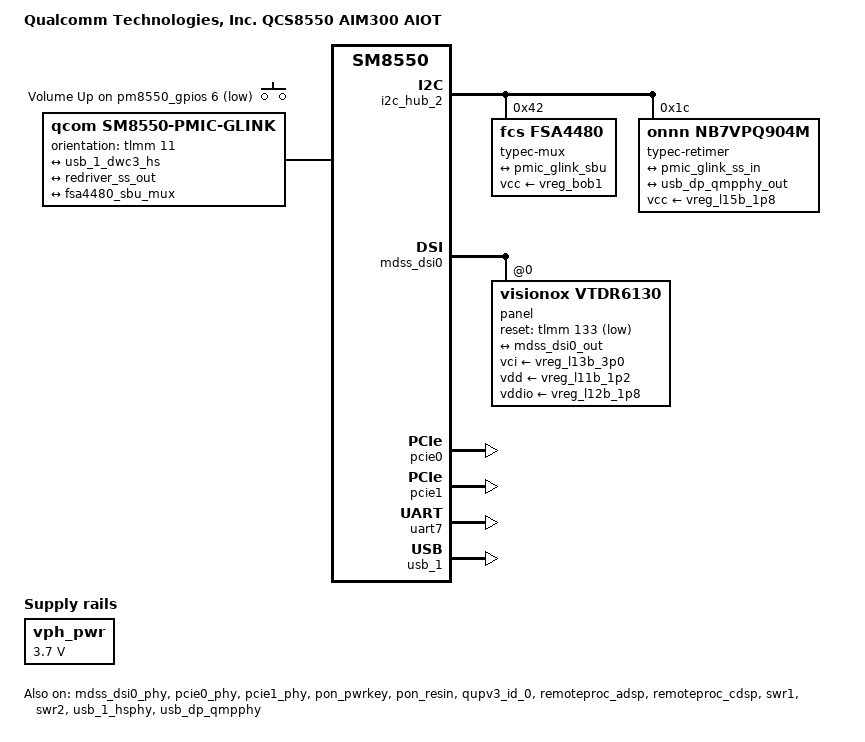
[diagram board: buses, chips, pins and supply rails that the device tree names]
// SPDX-License-Identifier: BSD-3-Clause
/*
 * Copyright (c) 2023-2024, Qualcomm Innovation Center, Inc. All rights reserved.
 */

/dts-v1/;

#include <dt-bindings/leds/common.h>
#include "qcs8550-aim300.dtsi"
#include "pm8010.dtsi"
#include "pmr735d_a.dtsi"
#include "pmr735d_b.dtsi"

/ {
	model = "Qualcomm Technologies, Inc. QCS8550 AIM300 AIOT";
	compatible = "qcom,qcs8550-aim300-aiot", "qcom,qcs8550-aim300", "qcom,qcs8550",
		     "qcom,sm8550";

	aliases {
		serial0 = &uart7;
	};

	chosen {
		stdout-path = "serial0:115200n8";
	};

	gpio-keys {
		compatible = "gpio-keys";

		pinctrl-0 = <&volume_up_n>;
		pinctrl-names = "default";

		key-volume-up {
			label = "Volume Up";
			debounce-interval = <15>;
			gpios = <&pm8550_gpios 6 GPIO_ACTIVE_LOW>;
			linux,code = <KEY_VOLUMEUP>;
			linux,can-disable;
			wakeup-source;
		};
	};

	pmic-glink {
		compatible = "qcom,sm8550-pmic-glink", "qcom,pmic-glink";
		#address-cells = <1>;
		#size-cells = <0>;
		orientation-gpios = <&tlmm 11 GPIO_ACTIVE_HIGH>;

		connector@0 {
			compatible = "usb-c-connector";
			reg = <0>;
			power-role = "dual";
			data-role = "dual";

			ports {
				#address-cells = <1>;
				#size-cells = <0>;

				port@0 {
					reg = <0>;

					pmic_glink_hs_in: endpoint {
						remote-endpoint = <&usb_1_dwc3_hs>;
					};
				};

				port@1 {
					reg = <1>;

					pmic_glink_ss_in: endpoint {
						remote-endpoint = <&redriver_ss_out>;
					};
				};

				port@2 {
					reg = <2>;

					pmic_glink_sbu: endpoint {
						remote-endpoint = <&fsa4480_sbu_mux>;
					};
				};
			};
		};
	};

	vph_pwr: regulator-vph-pwr {
		compatible = "regulator-fixed";
		regulator-name = "vph_pwr";
		regulator-min-microvolt = <3700000>;
		regulator-max-microvolt = <3700000>;

		regulator-always-on;
		regulator-boot-on;
	};
};

&apps_rsc {
	regulators-0 {
		vdd-bob1-supply = <&vph_pwr>;
		vdd-bob2-supply = <&vph_pwr>;
	};

	regulators-3 {
		vdd-s4-supply = <&vph_pwr>;
		vdd-s5-supply = <&vph_pwr>;
	};

	regulators-4 {
		vdd-s4-supply = <&vph_pwr>;
	};

	regulators-5 {
		vdd-s1-supply = <&vph_pwr>;
		vdd-s2-supply = <&vph_pwr>;
		vdd-s3-supply = <&vph_pwr>;
		vdd-s4-supply = <&vph_pwr>;
		vdd-s5-supply = <&vph_pwr>;
		vdd-s6-supply = <&vph_pwr>;
	};
};

&i2c_hub_2 {
	status = "okay";

	typec-mux@42 {
		compatible = "fcs,fsa4480";
		reg = <0x42>;

		vcc-supply = <&vreg_bob1>;

		mode-switch;
		orientation-switch;

		port {
			fsa4480_sbu_mux: endpoint {
				remote-endpoint = <&pmic_glink_sbu>;
			};
		};
	};

	typec-retimer@1c {
		compatible = "onnn,nb7vpq904m";
		reg = <0x1c>;

		vcc-supply = <&vreg_l15b_1p8>;

		orientation-switch;
		retimer-switch;

		ports {
			#address-cells = <1>;
			#size-cells = <0>;

			port@0 {
				reg = <0>;

				redriver_ss_out: endpoint {
					remote-endpoint = <&pmic_glink_ss_in>;
				};
			};

			port@1 {
				reg = <1>;

				redriver_ss_in: endpoint {
					data-lanes = <3 2 1 0>;
					remote-endpoint = <&usb_dp_qmpphy_out>;
				};
			};
		};
	};
};

&mdss_dsi0 {
	status = "okay";

	panel@0 {
		compatible = "visionox,vtdr6130";
		reg = <0>;

		pinctrl-0 = <&dsi_active>, <&te_default>;
		pinctrl-1 = <&dsi_suspend>, <&te_default>;
		pinctrl-names = "default", "sleep";

		reset-gpios = <&tlmm 133 GPIO_ACTIVE_LOW>;

		vci-supply = <&vreg_l13b_3p0>;
		vdd-supply = <&vreg_l11b_1p2>;
		vddio-supply = <&vreg_l12b_1p8>;

		port {
			panel0_in: endpoint {
				remote-endpoint = <&mdss_dsi0_out>;
			};
		};
	};
};

&mdss_dsi0_out {
	remote-endpoint = <&panel0_in>;
	data-lanes = <0 1 2 3>;
};

&mdss_dsi0_phy {
	status = "okay";
};

&pcie0 {
	status = "okay";
};

&pcie0_phy {
	status = "okay";
};

&pcie1 {
	status = "okay";
};

&pcie1_phy {
	status = "okay";
};

&pm8550_gpios {
	volume_up_n: volume-up-n-state {
		pins = "gpio6";
		function = "normal";
		power-source = <1>;
		bias-pull-up;
		input-enable;
	};
};

&pon_pwrkey {
	status = "okay";
};

&pon_resin {
	linux,code = <KEY_VOLUMEDOWN>;

	status = "okay";
};

&qupv3_id_0 {
	status = "okay";
};

&remoteproc_adsp {
	firmware-name = "qcom/qcs8550/adsp.mbn",
			"qcom/qcs8550/adsp_dtb.mbn";
	status = "okay";
};

&remoteproc_cdsp {
	firmware-name = "qcom/qcs8550/cdsp.mbn",
			"qcom/qcs8550/cdsp_dtb.mbn";
	status = "okay";
};

&swr1 {
	status = "okay";
};

&swr2 {
	status = "okay";
};

&tlmm {
	gpio-reserved-ranges = <32 8>;

	dsi_active: dsi-active-state {
		pins = "gpio133";
		function = "gpio";
		drive-strength = <8>;
		bias-disable;
	};

	dsi_suspend: dsi-suspend-state {
		pins = "gpio133";
		function = "gpio";
		drive-strength = <2>;
		bias-pull-down;
	};

	te_default: te-default-state {
		pins = "gpio86";
		function = "mdp_vsync";
		drive-strength = <2>;
		bias-pull-down;
	};
};

&uart7 {
	status = "okay";
};

&usb_1 {
	status = "okay";
};

&usb_1_dwc3_hs {
	remote-endpoint = <&pmic_glink_hs_in>;
};

&usb_1_hsphy {
	status = "okay";
};

&usb_dp_qmpphy {
	status = "okay";
};

&usb_dp_qmpphy_out {
	remote-endpoint = <&redriver_ss_in>;
};
